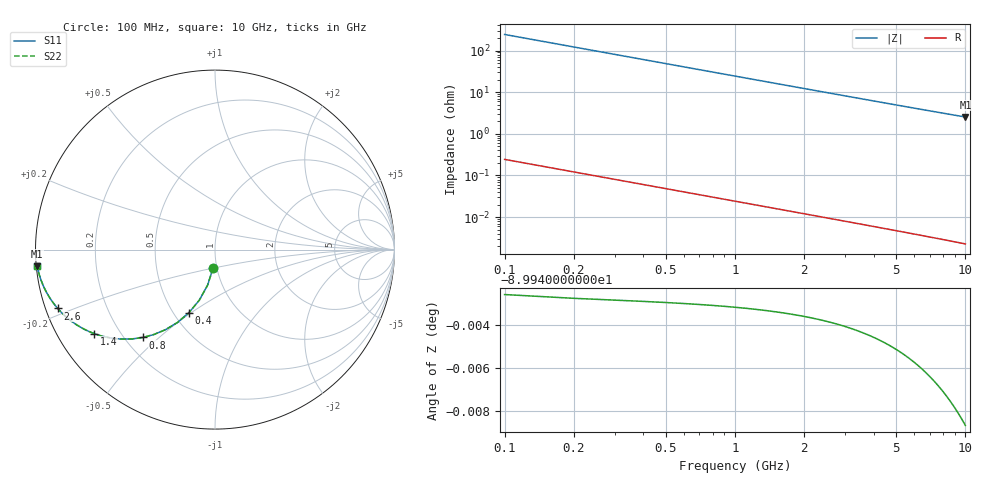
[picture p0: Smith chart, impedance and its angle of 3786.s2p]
# Hz S RI R 50.00
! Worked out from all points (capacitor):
!   100 points, 100 MHz to 10 GHz, reference 50 ohm
!   read as one part in shunt: C = 6.54 pF near 100 MHz
!   lowest |Z| = 2.54 ohm at 10 GHz (marker M1)
!   S11 on the Smith chart (normalised r, x): 100 MHz: 0.96, -0.20; 400 MHz: 0.60, -0.49; 800 MHz: 0.27, -0.44; 1.4 GHz: 0.11, -0.31; 2.6 GHz: 0.03, -0.18; 10 GHz: 0.00, -0.05
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1e8  -0.0106 -0.1017  0.9894 -0.1018  0.9894 -0.1018  -0.0106 -0.1017
2e8  -0.0407 -0.1971  0.9592 -0.1973  0.9592 -0.1973  -0.0407 -0.1971
3e8  -0.0871 -0.2813  0.9129 -0.2816  0.9129 -0.2816  -0.0871 -0.2813
4e8  -0.1448 -0.3513  0.8552 -0.3516  0.8552 -0.3516  -0.1448 -0.3513
5e8  -0.2091 -0.406  0.7909 -0.4064  0.7909 -0.4064  -0.2091 -0.406
6e8  -0.2756 -0.4461  0.7244 -0.4466  0.7244 -0.4466  -0.2756 -0.4461
7e8  -0.341 -0.4733  0.659 -0.4738  0.659 -0.4738  -0.341 -0.4733
8e8  -0.4032 -0.4897  0.5968 -0.4904  0.5968 -0.4904  -0.4032 -0.4897
9e8  -0.4607 -0.4976  0.5392 -0.4983  0.5392 -0.4983  -0.4607 -0.4976
1.1e9  -0.5604 -0.4954  0.4396 -0.4963  0.4396 -0.4963  -0.5604 -0.4954
1.2e9  -0.6026 -0.4884  0.3974 -0.4893  0.3974 -0.4893  -0.6026 -0.4884
1.4e9  -0.6734 -0.4679  0.3266 -0.469  0.3266 -0.469  -0.6734 -0.4679
1.6e9  -0.729 -0.4433  0.271 -0.4446  0.271 -0.4446  -0.729 -0.4433
1.8e9  -0.7728 -0.4178  0.2272 -0.4193  0.2272 -0.4193  -0.7728 -0.4178
2.2e9  -0.8352 -0.3696  0.1647 -0.3713  0.1647 -0.3713  -0.8352 -0.3696
2.6e9  -0.876 -0.328  0.1239 -0.3301  0.1239 -0.3301  -0.876 -0.328
3.4e9  -0.9234 -0.2641  0.0766 -0.2669  0.0766 -0.2669  -0.9234 -0.2641
4.2e9  -0.9483 -0.2192  0.0517 -0.2226  0.0517 -0.2226  -0.9483 -0.2192
5.1e9  -0.9643 -0.183  0.0357 -0.1871  0.0357 -0.1871  -0.9643 -0.183
6.7e9  -0.979 -0.1402  0.021 -0.1457  0.021 -0.1457  -0.979 -0.1402
8.4e9  -0.9865 -0.1112  0.0134 -0.1181  0.0134 -0.1181  -0.9865 -0.1112
1e10  -0.9905 -0.0923  0.00946 -0.1006  0.00946 -0.1006  -0.9905 -0.0923
